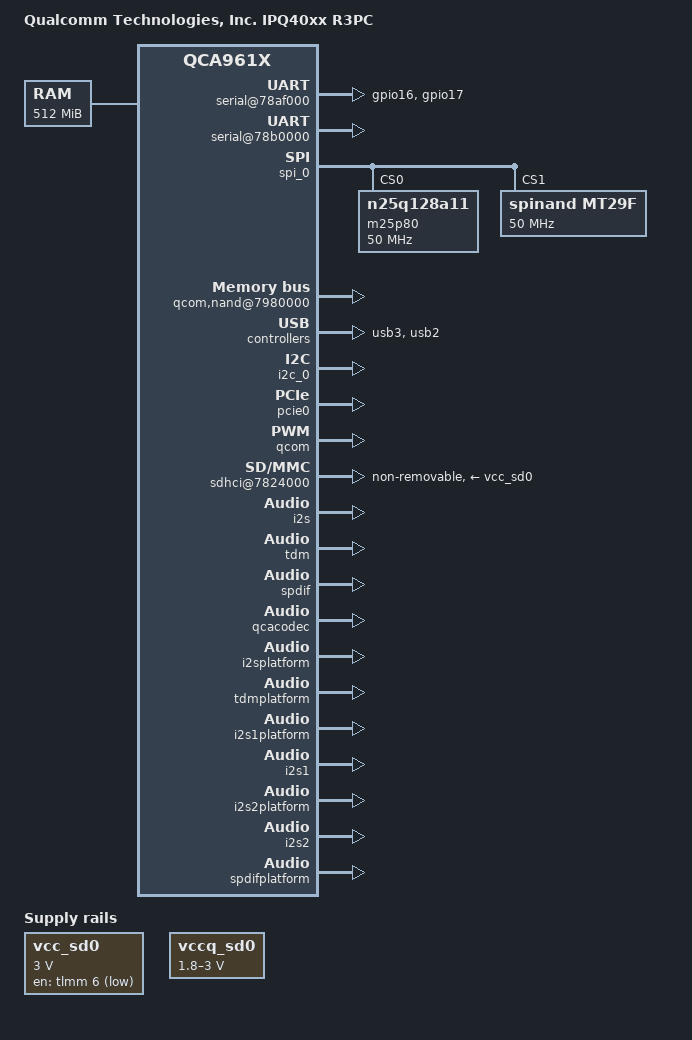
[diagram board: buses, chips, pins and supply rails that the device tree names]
/* Copyright (c) 2014, The Linux Foundation. All rights reserved.
 *
 * This program is free software; you can redistribute it and/or modify
 * it under the terms of the GNU General Public License version 2 and
 * only version 2 as published by the Free Software Foundation.
 *
 * This program is distributed in the hope that it will be useful,
 * but WITHOUT ANY WARRANTY; without even the implied warranty of
 * MERCHANTABILITY or FITNESS FOR A PARTICULAR PURPOSE.  See the
 * GNU General Public License for more details.
 */

#include "qcom-ipq40xx.dtsi"
#include "qcom-ipq40xx-lcdc.dtsi"
#include "qcom-ipq40xx-lcdpanel.dtsi"
#include "qcom-ipq40xx-hsuart.dtsi"
#include "qcom-ipq40xx-audio.dtsi"
/ {
	model = "Qualcomm Technologies, Inc. IPQ40xx R3PC";
	compatible = "qcom,qca961x-r3pc", "qcom,qca961x";

	memory {
		device_type = "memory";
		reg = <0x80000000 0x20000000>; /* 512MB */
	};

	chosen {
		bootargs = "console=ttyMSM0,115200n8";
	};

};
	&soc {
		timer {
			clock-frequency = <2400000>;
		};

		pinctrl@0x01000000 {
			serial_pins: serial_pinmux {
				mux {
					pins = "gpio16", "gpio17";
					function = "blsp_uart0";
					bias-disable;
				};
			};
		};

		serial@78af000 {
			pinctrl-0 = <&serial_pins>;
			pinctrl-names = "default";
			status = "ok";
			clocks = <&gcc GCC_DUMMY_CLK>,
				<&gcc GCC_DUMMY_CLK>;
			clock-names = "core", "iface";
		};

		serial@78b0000 {
			status = "ok";
			clocks = <&gcc GCC_DUMMY_CLK>,
				<&gcc GCC_DUMMY_CLK>;
			clock-names = "core", "iface";
		};

		spi_0: spi@78b5000 { /* BLSP1 QUP1 */
			status = "ok";
			clocks = <&gcc GCC_DUMMY_CLK>,
				<&gcc GCC_DUMMY_CLK>;
			clock-names = "iface_clk", "core_clk";
			qcom,gpio-cs1  = <&tlmm 59 0>;

			m25p80@0 {
				#address-cells = <1>;
				#size-cells = <0>;
				compatible = "n25q128a11";
				reg = <0>;
				linux,modalias = "m25p80", "n25q128a11";
				spi-max-frequency = <50000000>;
			};

			mt29f@1 {
				#address-cells = <1>;
				#size-cells = <0>;
				compatible = "spinand,mt29f";
				reg = <1>;
				spi-max-frequency = <50000000>;
			};

		};

		qcom,nand@7980000 {
			status = "ok";
			clocks = <&gcc GCC_DUMMY_CLK>;
			clock-names = "core_clk";
		};

		tcsr: tcsr@194b000 {
			status = "ok";
		};

		usb3_ss_phy: ssphy@0 {
			status = "ok";
			reg = <0x00090000 0x800>;
			qca,emulation = <1>;
		};

		dummy_ss_phy: ssphy@1 {
			status = "ok";
			compatible = "qca,dummy-ssphy";
		};

		usb3_hs_phy: hsphy@a6000 {
			status = "ok";
			reg = <0xa6000 0x1c0>;
			qca,emulation = <1>;
		};

		usb2_hs_phy: hsphy@a8000 {
			status = "ok";
			reg = <0xa8000 0x1c0>;
			qca,emulation = <1>;
		};

		usb3: usb3@8a00000 {
			status = "ok";
			clocks = <&gcc GCC_DUMMY_CLK>,
				<&gcc GCC_DUMMY_CLK>,
				<&gcc GCC_DUMMY_CLK>,
				<&gcc GCC_DUMMY_CLK>,
				<&gcc GCC_DUMMY_CLK>;
			clock-names = "master",
				"sleep",
				"mock_utmi",
				"srif_ahb",
				"srif_25m";
		};

		usb2: usb2@6000000 {
			status = "ok";
			clocks = <&gcc GCC_DUMMY_CLK>,
				<&gcc GCC_DUMMY_CLK>,
				<&gcc GCC_DUMMY_CLK>,
				<&gcc GCC_DUMMY_CLK>,
				<&gcc GCC_DUMMY_CLK>;
			clock-names = "master",
				"sleep",
				"mock_utmi",
				"srif_ahb",
				"srif_25m";
		};

		i2c_0: i2c@78b7000 { /* BLSP1 QUP2 */
			status = "ok";
			clocks = <&gcc GCC_DUMMY_CLK>,
				<&gcc GCC_DUMMY_CLK>;
			clock-names = "iface_clk", "core_clk";
		};

		gcc: clock-controller@1800000 {
			compatible = "qcom,gcc-dummy";
			#clock-cells = <1>;
			#reset-cells = <1>;
			reg = <0x1800000 0x60000>;
		};

		qcom_crypto: qcrypto@8e20000 {
			status = "ok";
			clocks = <&gcc GCC_DUMMY_CLK>,
				<&gcc GCC_DUMMY_CLK>,
				<&gcc GCC_DUMMY_CLK>,
				<&gcc GCC_DUMMY_CLK>;

			clock-names = "core_clk_src", "core_clk",
					"iface_clk", "bus_clk";
		};

		qcom_cedev: qcedev@8e20000 {
			status = "ok";
			clocks = <&gcc GCC_DUMMY_CLK>,
				<&gcc GCC_DUMMY_CLK>,
				<&gcc GCC_DUMMY_CLK>,
				<&gcc GCC_DUMMY_CLK>;

			clock-names = "core_clk_src", "core_clk",
					"iface_clk", "bus_clk";
		};

		pcie0: qcom,pcie@80000 {
			status = "ok";
			qcom,is_emulation;
			perst-gpio = <&tlmm 61 0>;
			wake-gpio = <&tlmm 65 0>;
			clkreq-gpio = <&tlmm 64 0>;

			clocks = <&gcc GCC_DUMMY_CLK>,
				<&gcc GCC_DUMMY_CLK>,
				<&gcc GCC_DUMMY_CLK>,
				<&gcc GCC_DUMMY_CLK>,
				<&gcc GCC_DUMMY_CLK>,
				<&gcc GCC_DUMMY_CLK>,
				<&gcc GCC_DUMMY_CLK>;

			clock-names =  "pcie_0_pipe_clk", "pcie_0_ref_clk_src", "pcie_0_aux_clk",
				"pcie_0_cfg_ahb_clk", "pcie_0_mstr_axi_clk",
				"pcie_0_slv_axi_clk", "pcie_0_ldo";
		};

		qcom: ledc@1937000  {
			 status = "ok";
		};

		ess-switch@c000000 {
			switch_mac_mode = <0x0>; /* mac mode for RGMII RMII */
			switch_initvlas = <
				0x0007c 0x54 /* PORT0_STATUS */
			>;
		};

		vcc_sd0: regulator@0 {
			compatible = "regulator-fixed";
			regulator-name = "SDHI0 Vcc";
			regulator-min-microvolt = <3000000>;
			regulator-max-microvolt = <3000000>;
			gpio = <&tlmm 6 0>;
		};

		vccq_sd0: regulator@1 {
			compatible = "regulator-gpio";
			regulator-name = "SD0 VccQ";
			regulator-min-microvolt = <1800000>;
			regulator-max-microvolt = <3000000>;

			gpios = <&tlmm 7 0>;
			states = <3000000 0
				1800000 1>;
			enable-active-high;
		};

		sdhci@7824000 {
			status = "ok";
			qca,emulation;
			vmmc-supply = <&vcc_sd0>;
			vqmmc-supply = <&vccq_sd0>;
			non-removable;
			clocks = <&gcc GCC_DUMMY_CLK>, <&gcc GCC_DUMMY_CLK>;
			clock-names = "core", "iface";
		};

		pcm: pcm@7704000 {
			status = "ok";
		};

		i2s: ipq40xx-pcm-i2s@0 {
			status = "ok";
		};

		tdm: tdm@0 {
			status = "ok";
		};

		spdif: spdif@0 {
			status = "ok";
		};

		qcacodec: qca-codec@50 {
			status = "ok";
		};

		i2splatform: qca-pcm-i2s@7709000 {
			status = "ok";
		};

		tdmplatform: qca-pcm-tdm@7709000 {
			status = "ok";
		};

		i2s1platform: qca-pcm-i2s1@770b000 {
			status = "ok";
		};

		i2s1: ipq40xx-pcm-i2s1@0 {
			status = "ok";
		};

		i2s2platform: qca-pcm-i2s2@770d000 {
			status = "ok";
		};

		i2s2: ipq40xx-pcm-i2s2@0 {
			status = "ok";
		};

		spdifplatform: qca-pcm-spdif@7707000 {
			status = "ok";
		};

		sound: sound@0 {
			status = "ok";
		};

		pcm_lb: pcm_lb@0 {
			status = "ok";
		};
	};
